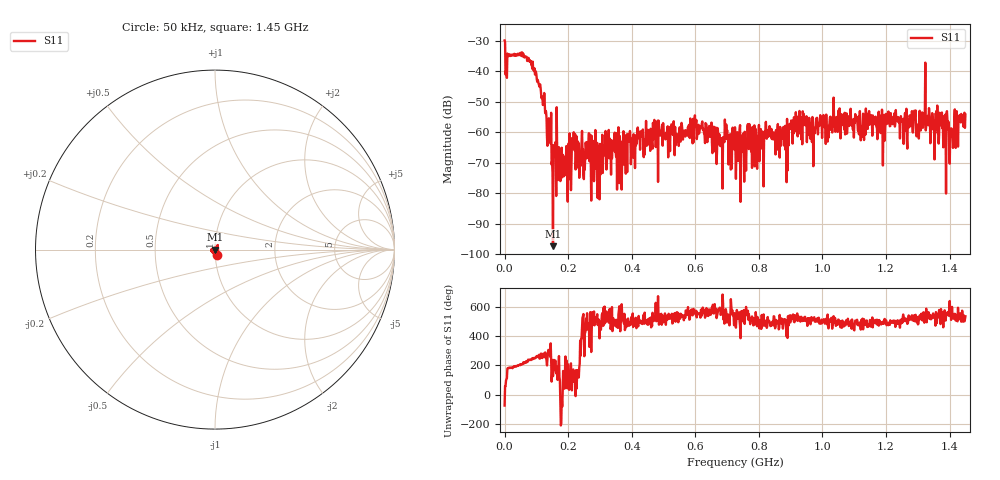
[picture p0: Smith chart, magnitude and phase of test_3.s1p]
! Created with skrf 1.11.0 (http://scikit-rf.org).
# Hz S RI R 50.0
!freq ReS11 ImS11
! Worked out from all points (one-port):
!   1001 points, 50 kHz to 1.45 GHz, reference 50 ohm
!   lowest |S11| = -97.3 dB at 152.3 MHz (marker M1), VSWR 1.00, Z = 50 + j0.0011 ohm
!   |S11| at or under -10 dB: start of sweep to end of sweep
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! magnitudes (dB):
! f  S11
! 50 kHz  -29.9
! 87.05 MHz  -39.1
! 118.9 MHz  -48.5
! 152.3 MHz  -97.3
! 181.3 MHz  -74.7
! 220.4 MHz  -65.9
! 242.2 MHz  -63.3
! 262.5 MHz  -67.7
! 294.4 MHz  -64.8
! 345.1 MHz  -61.8
! 362.5 MHz  -61.2
! 424.9 MHz  -60.5
! 543.8 MHz  -61.8
! 616.3 MHz  -58.3
! 725 MHz  -58.4
! 755.5 MHz  -59.8
! 770 MHz  -57.3
! 809.1 MHz  -62.8
! 828 MHz  -60.0
! 886 MHz  -59.6
! 906.3 MHz  -63.7
! 1.088 GHz  -55.9
! 1.269 GHz  -56.3
! 1.33 GHz  -54.8
! 1.347 GHz  -55.0
! 1.391 GHz  -53.8
! 1.407 GHz  -58.8
! 1.45 GHz  -54.2
